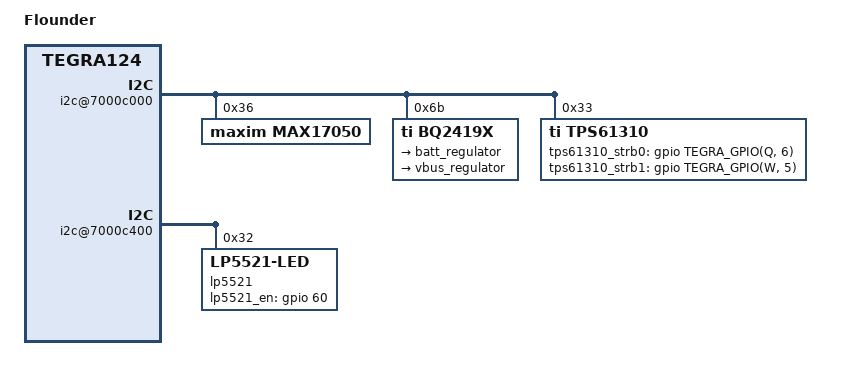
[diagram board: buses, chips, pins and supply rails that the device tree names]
/dts-v1/;

#include "tegra124-flounder-generic.dtsi"

/ {
	model = "Flounder";
	compatible = "google,flounder", "nvidia,tegra124";
	nvidia-boardids = "1780:1100:2:B:7","1794:1000:0:A:6";
	#address-cells = <1>;
	#size-cells = <1>;

	chosen {
		bootargs = "tegraid=40.0.0.00.00 vmalloc=256M video=tegrafb console=ttyS0,115200n8 earlyprintk";
		linux,initrd-start = <0x85000000>;
		linux,initrd-end = <0x851bc400>;
	};

	pinmux {
		status = "disable";
	};

	i2c@7000c000 {
		status = "okay";

		max17050@36 {
			compatible = "maxim,max17050";
			reg = <0x36>;
		};

		bq2419x: bq2419x@6b {
			compatible = "ti,bq2419x";
			reg = <0x6b>;

			charger {
				regulator-name = "batt_regulator";
				regulator-max-microamp = <3000>;
				watchdog-timeout = <40>;
				rtc-alarm-time = <3600>;
				auto-recharge-time = <1800>;
				consumers {
					c1 {
						regulator-consumer-supply = "usb_bat_chg";
						regulator-consumer-device = "tegra-udc.0";
					};
				};
			};

			vbus {
				regulator-name = "vbus_regulator";
				consumers {
					c1 {
						regulator-consumer-supply = "usb_vbus";
						regulator-consumer-device = "tegra-ehci.0";
					};

					c2 {
						regulator-consumer-supply = "usb_vbus";
						regulator-consumer-device = "tegra-otg";
					};
				};
			};
		};

		tps61310@33 {
			compatible = "ti,tps61310";
			reg = <0x33>;
			tps61310,tps61310_strb0 = <&gpio TEGRA_GPIO(Q, 6) 0>;
			tps61310,tps61310_strb1 = <&gpio TEGRA_GPIO(W, 5) 0>;
			tps61310,flash_duration_ms = <600>;
			tps61310,enable_FLT_1500mA = <0>;
			tps61310,led_count = <1>;
			tps61310,disable_tx_mask = <1>;

			tps61310_flash0: tps61310_flash_0 {
				label = "flash";
				linux,name = "flash_0";
				linux,default-trigger =
					"flash0_trigger";
				id = <0>;
				default-state = "off";
				max-current = <750>;
			};

			tps61310_torch0: tps61310_torch_0 {
				label = "torch";
				linux,name = "torch_0";
				linux,default-trigger =
					"torch0_trigger";
				id = <0>;
				default-state = "off";
				max-current = <200>;
			};
		};
	};
	i2c@7000c400 {
		status = "okay";

		lp5521@32 {
			compatible = "LP5521-LED";
			reg = <0x32>;
			lp5521,lp5521_en = <&gpio 60 0x00>;
			lp5521,num_leds = <1>;
		};
	};

};

